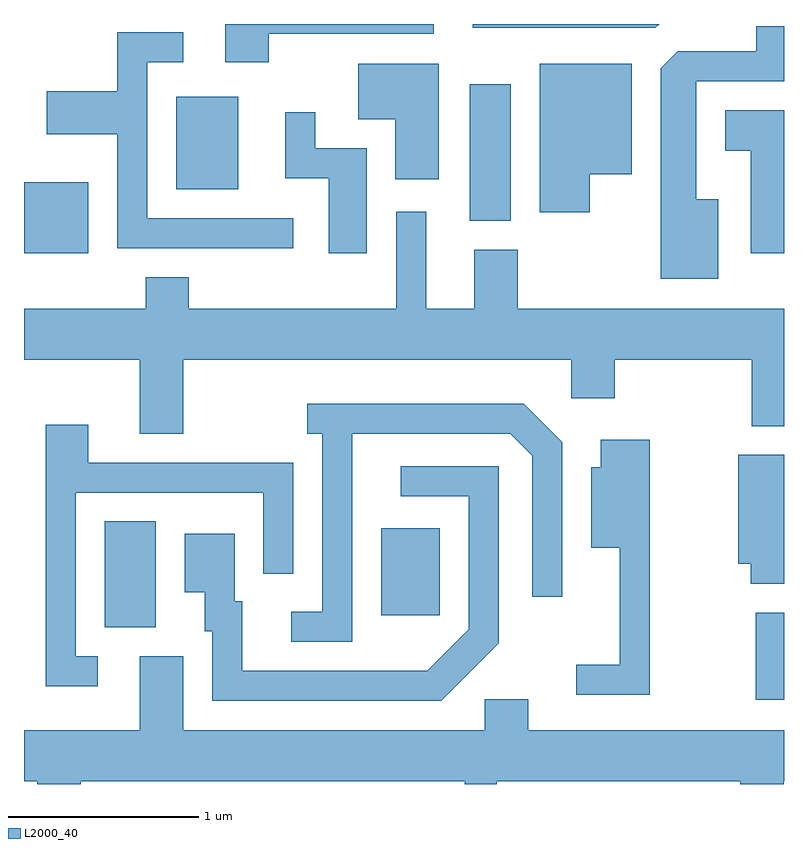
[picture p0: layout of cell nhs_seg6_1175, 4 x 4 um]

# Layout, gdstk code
import gdstk
lib = gdstk.Library(unit=1e-6, precision=1e-09)
def R(c, l, rs):  # rectangles x0, y0, x1, y1
    for r in rs: c.add(gdstk.rectangle(r[:2], r[2:], *l))
def P(c, l, *ps):  # polygons
    for p in ps: c.add(gdstk.Polygon(p, *l))
L2000_40 = (2000, 40)

nhs_seg6_1175 = lib.new_cell('nhs_seg6_1175')
R(nhs_seg6_1175, L2000_40, [(223.461,1632.606,223.611,1633.064), (220.036,1632.986,220.304,1633.544), (221.491,1633.051,221.799,1633.509), (219.611,1634.956,219.949,1635.329), (221.956,1635.126,222.174,1635.844), (220.411,1635.291,220.739,1635.779)])
P(nhs_seg6_1175, L2000_40, [(220.899,1636.111),(221.768,1636.111),(221.768,1636.162),(220.671,1636.162),(220.671,1635.961),(220.899,1635.961)],
  [(222.955,1636.162),(221.973,1636.162),(221.973,1636.141),(222.934,1636.141)],
  [(223.264,1635.239),(223.149,1635.239),(223.149,1635.861),(223.611,1635.861),(223.611,1636.149),(223.466,1636.149),(223.466,1636.019),(223.052,1636.019),(222.961,1635.929),(222.961,1634.821),(223.264,1634.821)],
  [(221.028,1635.139),(220.259,1635.139),(220.259,1635.961),(220.448,1635.961),(220.448,1636.119),(220.101,1636.119),(220.101,1635.809),(219.731,1635.809),(219.731,1635.581),(220.101,1635.581),(220.101,1634.981),(221.028,1634.981)],
  [(222.589,1635.371),(222.809,1635.371),(222.809,1635.954),(222.326,1635.954),(222.326,1635.171),(222.589,1635.171)],
  [(221.794,1635.954),(221.371,1635.954),(221.371,1635.661),(221.566,1635.661),(221.566,1635.346),(221.794,1635.346)],
  [(223.611,1635.709),(223.301,1635.709),(223.301,1635.496),(223.436,1635.496),(223.436,1634.956),(223.611,1634.956)],
  [(221.414,1635.509),(221.144,1635.509),(221.144,1635.698),(220.986,1635.698),(220.986,1635.351),(221.216,1635.351),(221.216,1634.956),(221.414,1634.956)],
  [(220.449,1634.396),(222.491,1634.396),(222.491,1634.191),(222.719,1634.191),(222.719,1634.396),(223.441,1634.396),(223.441,1634.046),(223.611,1634.046),(223.611,1634.664),(222.209,1634.664),(222.209,1634.974),(221.981,1634.974),(221.981,1634.664),(221.729,1634.664),(221.729,1635.173),(221.571,1635.173),(221.571,1634.664),(220.479,1634.664),(220.479,1634.829),(220.251,1634.829),(220.251,1634.664),(219.611,1634.664),(219.611,1634.396),(220.221,1634.396),(220.221,1634.006),(220.449,1634.006)],
  [(221.339,1634.006),(222.169,1634.006),(222.286,1633.889),(222.286,1633.148),(222.444,1633.148),(222.444,1633.962),(222.242,1634.164),(221.103,1634.164),(221.103,1634.006),(221.181,1634.006),(221.181,1633.069),(221.018,1633.069),(221.018,1632.911),(221.339,1632.911)],
  [(219.998,1632.834),(219.884,1632.834),(219.884,1633.696),(220.871,1633.696),(220.871,1633.268),(221.029,1633.268),(221.029,1633.854),(219.949,1633.854),(219.949,1634.054),(219.726,1634.054),(219.726,1632.676),(219.998,1632.676)],
  [(222.904,1633.974),(222.646,1633.974),(222.646,1633.829),(222.596,1633.829),(222.596,1633.406),(222.746,1633.406),(222.746,1632.789),(222.518,1632.789),(222.518,1632.631),(222.904,1632.631)],
  [(223.611,1633.894),(223.371,1633.894),(223.371,1633.321),(223.436,1633.321),(223.436,1633.216),(223.611,1633.216)],
  [(222.109,1632.904),(222.109,1633.834),(221.593,1633.834),(221.593,1633.676),(221.951,1633.676),(221.951,1632.977),(221.734,1632.759),(220.759,1632.759),(220.759,1633.124),(220.719,1633.124),(220.719,1633.479),(220.456,1633.479),(220.456,1633.171),(220.561,1633.171),(220.561,1632.966),(220.601,1632.966),(220.601,1632.601),(221.807,1632.601)],
  [(219.909,1632.176),(221.931,1632.176),(221.931,1632.162),(222.099,1632.162),(222.099,1632.176),(223.381,1632.176),(223.381,1632.162),(223.609,1632.162),(223.609,1632.176),(223.611,1632.176),(223.611,1632.444),(222.264,1632.444),(222.264,1632.609),(222.036,1632.609),(222.036,1632.444),(220.449,1632.444),(220.449,1632.834),(220.221,1632.834),(220.221,1632.444),(219.611,1632.444),(219.611,1632.176),(219.681,1632.176),(219.681,1632.162),(219.909,1632.162)])

lib.write_gds('nhs_seg6_1175.gds')
